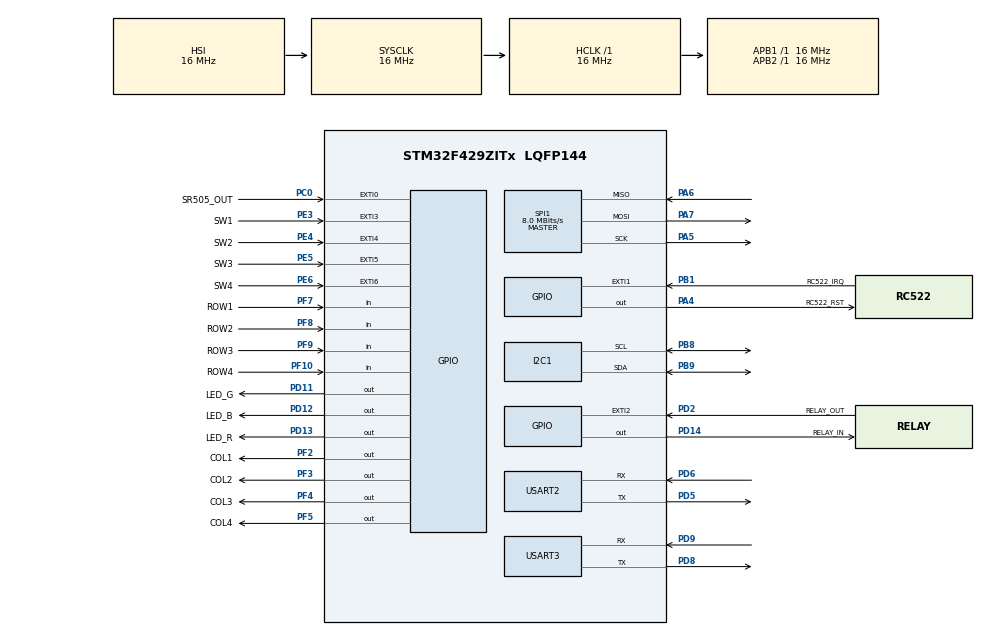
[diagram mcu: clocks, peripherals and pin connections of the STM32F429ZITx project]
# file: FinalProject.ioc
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FREERTOS.Tasks01=defaultTask,24,128,StartDefaultTask,Default,NULL,Dynamic,NULL,NULL
Mcu.Family=STM32F4
Mcu.Name=STM32F429ZITx
Mcu.Package=LQFP144
NVIC.EXTI0_IRQn=true\:5\:0\:false\:false\:true\:true\:true\:true\:true
NVIC.EXTI1_IRQn=true\:5\:0\:false\:false\:true\:true\:true\:true\:true
NVIC.EXTI2_IRQn=true\:5\:0\:false\:false\:true\:true\:true\:true\:true
NVIC.EXTI3_IRQn=true\:5\:0\:false\:false\:true\:true\:true\:true\:true
NVIC.EXTI4_IRQn=true\:5\:0\:false\:false\:true\:true\:true\:true\:true
NVIC.EXTI9_5_IRQn=true\:5\:0\:false\:false\:true\:true\:true\:true\:true
NVIC.PriorityGroup=NVIC_PRIORITYGROUP_4
NVIC.USART2_IRQn=true\:5\:0\:false\:false\:true\:true\:true\:true\:true
PA13.Mode=Serial_Wire
PA13.Signal=SYS_JTMS-SWDIO
PA14.Mode=Serial_Wire
PA14.Signal=SYS_JTCK-SWCLK
PA4.GPIO_Label=RC522_RST
PA4.PinState=GPIO_PIN_SET
PA4.Signal=GPIO_Output
PA5.Mode=Full_Duplex_Master
PA5.Signal=SPI1_SCK
PA6.Mode=Full_Duplex_Master
PA6.Signal=SPI1_MISO
PA7.Mode=Full_Duplex_Master
PA7.Signal=SPI1_MOSI
PB1.GPIO_Label=RC522_IRQ
PB1.GPIO_ModeDefaultEXTI=GPIO_MODE_IT_FALLING
PB1.GPIO_PuPd=GPIO_PULLUP
PB1.Signal=GPXTI1
PB8.Mode=I2C
PB8.Signal=I2C1_SCL
PB9.Mode=I2C
PB9.Signal=I2C1_SDA
PC0.GPIO_Label=SR505_OUT
PC0.GPIO_PuPd=GPIO_PULLDOWN
PC0.Signal=GPXTI0
PD11.GPIO_Label=LED_G
PD11.Signal=GPIO_Output
PD12.GPIO_Label=LED_B
PD12.Signal=GPIO_Output
PD13.GPIO_Label=LED_R
PD13.Signal=GPIO_Output
PD14.GPIO_Label=RELAY_IN
PD14.GPIO_ModeDefaultOutputPP=GPIO_MODE_OUTPUT_OD
PD14.GPIO_PuPd=GPIO_NOPULL
PD14.Signal=GPIO_Output
PD2.GPIO_Label=RELAY_OUT
PD2.GPIO_ModeDefaultEXTI=GPIO_MODE_IT_RISING_FALLING
PD2.GPIO_PuPd=GPIO_PULLUP
PD2.Signal=GPXTI2
PD5.Mode=Asynchronous
PD5.Signal=USART2_TX
PD6.Mode=Asynchronous
PD6.Signal=USART2_RX
PD8.Mode=Asynchronous
PD8.Signal=USART3_TX
PD9.Mode=Asynchronous
PD9.Signal=USART3_RX
PE3.GPIO_Label=SW1
PE3.Signal=GPXTI3
PE4.GPIO_Label=SW2
PE4.Signal=GPXTI4
PE5.GPIO_Label=SW3
PE5.Signal=GPXTI5
PE6.GPIO_Label=SW4
PE6.Signal=GPXTI6
PF10.GPIO_Label=ROW4
PF10.GPIO_PuPd=GPIO_PULLUP
PF10.Signal=GPIO_Input
PF2.GPIO_Label=COL1
PF2.Signal=GPIO_Output
PF3.GPIO_Label=COL2
PF3.Signal=GPIO_Output
PF4.GPIO_Label=COL3
PF4.Signal=GPIO_Output
PF5.GPIO_Label=COL4
PF5.Signal=GPIO_Output
PF7.GPIO_Label=ROW1
PF7.GPIO_PuPd=GPIO_PULLUP
PF7.Signal=GPIO_Input
PF8.GPIO_Label=ROW2
PF8.GPIO_PuPd=GPIO_PULLUP
PF8.Signal=GPIO_Input
PF9.GPIO_Label=ROW3
PF9.GPIO_PuPd=GPIO_PULLUP
PF9.Signal=GPIO_Input
PH0/OSC_IN.Mode=HSE-External-Clock-Source
PH0/OSC_IN.Signal=RCC_OSC_IN
PH1/OSC_OUT.Mode=HSE-External-Clock-Source
PH1/OSC_OUT.Signal=RCC_OSC_OUT
ProjectManager.HeapSize=0x200
ProjectManager.StackSize=0x400
ProjectManager.TargetToolchain=MDK-ARM V5.32
RCC.AHBFreq_Value=16000000
RCC.APB1Freq_Value=16000000
RCC.APB2Freq_Value=16000000
RCC.CortexFreq_Value=16000000
RCC.HSE_VALUE=25000000
RCC.HSI_VALUE=16000000
RCC.LSE_VALUE=32768
RCC.SYSCLKFreq_VALUE=16000000
RCC.VCOOutputFreq_Value=192000000
SPI1.CalculateBaudRate=8.0 MBits/s
SPI1.Direction=SPI_DIRECTION_2LINES
SPI1.Mode=SPI_MODE_MASTER
SPI1.VirtualType=VM_MASTER
USART2.VirtualMode=VM_ASYNC
USART3.VirtualMode=VM_ASYNC
VP_FREERTOS_VS_CMSIS_V2.Mode=CMSIS_V2
board=custom

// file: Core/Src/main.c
/* USER CODE BEGIN Header */
/**
 ******************************************************************************
 * @file           : main.c
 * @brief          : Main program body
 ******************************************************************************
 * @attention
 *
 * Copyright (c) 2026 STMicroelectronics.
 * All rights reserved.
 *
 * This software is licensed under terms that can be found in the LICENSE file
 * in the root directory of this software component.
 * If no LICENSE file comes with this software, it is provided AS-IS.
 *
 ******************************************************************************
 */
/* USER CODE END Header */
#include "main.h"

#include "cmsis_os.h"
#include "gpio.h"
#include "i2c.h"
#include "spi.h"
#include "usart.h"

/* USER CODE BEGIN Includes */
#include "FreeRTOS.h"
#include "RC522.h"
#include "lcd1602_i2c.h"
#include "pb_decode.h"
#include "pb_encode.h"
#include "queue.h"
#include "semphr.h"
#include "serial_comm.h"
#include "stdio.h"
#include "task.h"
/* USER CODE END Includes */

/* USER CODE BEGIN PV */
TaskHandle_t handleKeypad;
TaskHandle_t handleRFID;
TaskHandle_t handleLed;
TaskHandle_t handleLCD;
TaskHandle_t handleTx;
TaskHandle_t handleRx;
TaskHandle_t handleRelayIN;

QueueHandle_t queueKeypad;
QueueHandle_t queueLed;
QueueHandle_t queueLCD;
QueueHandle_t queueRelayIN;
QueueHandle_t queueRelayOUT;
QueueHandle_t queueRFID;
QueueHandle_t queueRFIDRegistration;
QueueHandle_t queueRegistrationControl;

extern I2C_HandleTypeDef hi2c1;
extern UART_HandleTypeDef huart2;
/* USER CODE END PV */

void SystemClock_Config(void);
void MX_FREERTOS_Init(void);

/* USER CODE BEGIN 0 */
void taskKeypad(void* pvParm) {
  static char key_buffer[17] = {0};
  uint16_t COL_PINS[4] = {COL1_Pin, COL2_Pin, COL3_Pin, COL4_Pin};
  uint16_t ROW_PINS[4] = {ROW1_Pin, ROW2_Pin, ROW3_Pin, ROW4_Pin};
  bool isDoorOpen = false;
  bool isRegistration = false;
  bool isUpdation = false;

  char key_matrix_values[4][4] = {{'1', '2', '3', 'A'},
                                  {'4', '5', '6', 'B'},
                                  {'7', '8', '9', 'C'},
                                  {'*', '0', '#', 'D'}};

  HAL_GPIO_WritePin(GPIOF, COL1_Pin | COL2_Pin | COL3_Pin | COL4_Pin,
                    GPIO_PIN_SET);

  while (1) {
    LcdDisplay_t displayText;
    uint8_t isKeyPressed = 0;
    char key = '0';

    for (int c = 0; c < 4; c++) {
      HAL_GPIO_WritePin(GPIOF, COL1_Pin | COL2_Pin | COL3_Pin | COL4_Pin,
                        GPIO_PIN_SET);
      HAL_GPIO_WritePin(GPIOF, COL_PINS[c], GPIO_PIN_RESET);
      vTaskDelay(pdMS_TO_TICKS(1));

      for (int r = 0; r < 4; r++) {
        if (HAL_GPIO_ReadPin(GPIOF, ROW_PINS[r]) == GPIO_PIN_RESET) {
          vTaskDelay(pdMS_TO_TICKS(5));
          if (HAL_GPIO_ReadPin(GPIOF, ROW_PINS[r]) == GPIO_PIN_RESET) {
            key = key_matrix_values[r][c];
            isKeyPressed = 1;
            while (HAL_GPIO_ReadPin(GPIOF, ROW_PINS[r]) == GPIO_PIN_RESET) {
              vTaskDelay(pdMS_TO_TICKS(10));
            }
            break;
          }
        }
      }
      if (isKeyPressed) break;
    }

    HAL_GPIO_WritePin(GPIOF, COL1_Pin | COL2_Pin | COL3_Pin | COL4_Pin,
                      GPIO_PIN_RESET);

    if (isKeyPressed == 1) {
      int len = strlen(key_buffer);

      xQueuePeek(queueRelayOUT, &isDoorOpen, 0);
      xQueuePeek(queueRegistrationControl, &isRegistration, 0);

      if (isRegistration == true) {
        if (key == '*') {
          isRegistration = false;
        }
        continue;
      }

      switch (key) {
        case '*':  // 清除輸入
          key_buffer[0] = '\0';
          break;
        case '#':  // 確認輸入
          printf("\r\n[Keypad] PIN Entered: %s\r\n", key_buffer);
          if (isUpdation == true) {
            SendPINUpdatedEvent(key_buffer);
            isUpdation = false;
          } else {
            SendPINEvent(key_buffer);
          }
          key_buffer[0] = '\0';
          break;
        case 'A':  // 更新密碼
          if (isDoorOpen == true) {
            snprintf(displayText.line1, sizeof(displayText.line1), "%s",
                     "PIN Update");
            isUpdation = true;
            key_buffer[0] = '\0';
          }
          break;
        case 'B':  // 註冊人臉
          if (isDoorOpen == true) {
            SendFaceRegistrationEvent();
            snprintf(displayText.line1, sizeof(displayText.line1), "%s",
                     "Face Registration");
            isRegistration = true;
            key_buffer[0] = '\0';
          }
          break;
        case 'C':  // 註冊卡片
          if (isDoorOpen == true) {
            xQueueOverwrite(queueRFIDRegistration, &(bool){true});
            snprintf(displayText.line1, sizeof(displayText.line1), "%s",
                     "RFID Registration");
            isRegistration = true;
            key_buffer[0] = '\0';
          }
          break;
        case 'D':  // 回退輸入
          if (len > 0) {
            key_buffer[len - 1] = '\0';
          }
          break;
        default:  // 一般輸入
          if (len < 16) {
            key_buffer[len] = key;
            key_buffer[len + 1] = '\0';
          }
          break;
      }

      if (!isRegistration && !isUpdation) {
        snprintf(displayText.line1, sizeof(displayText.line1), "%s",
                 "Keypad Input");
      }
      snprintf(displayText.line2, sizeof(displayText.line2), "%s", key_buffer);
      xQueueSend(queueLCD, &displayText, portMAX_DELAY);
    }
    vTaskDelay(pdMS_TO_TICKS(50));
  }
}

void taskRFID(void* pvParm) {
  LcdDisplay_t displayText;
  MFRC522_Init();
  uchar status;
  uchar uidBytes[MAX_LEN];
  char rfid[9] = {0};
  bool isRegistration = false;

  while (1) {
    xQueuePeek(queueRFIDRegistration, &isRegistration, 0);
    status = MFRC522_Request(PICC_REQIDL, uidBytes);
    if (status == MI_OK) {
      status = MFRC522_Anticoll(uidBytes);
      if (status == MI_OK) {
        if (isRegistration) {
          SendRFIDRegistrationEvent(uidBytes, 4);
          isRegistration = false;
        } else {
          SendRfidEvent(uidBytes, 4);
        }
        snprintf(rfid, sizeof(rfid), "%02x%02x%02x%02x", uidBytes[0],
                 uidBytes[1], uidBytes[2], uidBytes[3]);
        snprintf(displayText.line1, sizeof(displayText.line1), "%s",
                 "RFID Card Scanned");
        snprintf(displayText.line2, sizeof(displayText.line2), "%s", rfid);
        xQueueSend(queueLCD, &displayText, portMAX_DELAY);
        printf("\r\n[RFID] Card Scanned UID: %s\r\n", rfid);
      }
      MFRC522_Halt();
      vTaskDelay(pdMS_TO_TICKS(1000));
    } else {
      vTaskDelay(pdMS_TO_TICKS(200));
    }
  }
}

void taskRelayIN(void* pvParm) {
  bool open = false;
  while (1) {
    if (xQueueReceive(queueRelayIN, &open, portMAX_DELAY) == pdTRUE) {
      if (open) {
        HAL_GPIO_WritePin(GPIOD, RELAY_IN_Pin, GPIO_PIN_SET);
      } else {
        HAL_GPIO_WritePin(GPIOD, RELAY_IN_Pin, GPIO_PIN_RESET);
      }
    }
  }
}

void taskLed(void* pvParm) {
  TickType_t xTicksToWait = pdMS_TO_TICKS(1000);
  bool blinkState = false;
  char ledCommand;

  HAL_GPIO_WritePin(GPIOD, LED_B_Pin | LED_G_Pin | LED_R_Pin, GPIO_PIN_SET);

  while (1) {
    if (xQueueReceive(queueLed, &ledCommand, xTicksToWait) == pdTRUE) {
      HAL_GPIO_WritePin(GPIOD, LED_B_Pin | LED_G_Pin | LED_R_Pin, GPIO_PIN_SET);
      switch (ledCommand) {
        case 'R':
          HAL_GPIO_WritePin(GPIOD, LED_R_Pin, GPIO_PIN_RESET);
          break;
        case 'G':
          HAL_GPIO_WritePin(GPIOD, LED_G_Pin, GPIO_PIN_RESET);
          break;
        case 'B':
          HAL_GPIO_WritePin(GPIOD, LED_B_Pin, GPIO_PIN_RESET);
          break;
        case 'Y':
          HAL_GPIO_WritePin(GPIOD, LED_R_Pin, GPIO_PIN_RESET);
          HAL_GPIO_WritePin(GPIOD, LED_G_Pin, GPIO_PIN_RESET);
          break;
        default:
          break;
      }

      xTicksToWait = pdMS_TO_TICKS(5000);
    } else {
      if (blinkState) {
        HAL_GPIO_WritePin(GPIOD, LED_B_Pin | LED_G_Pin | LED_R_Pin,
                          GPIO_PIN_SET);
      } else {
        HAL_GPIO_WritePin(GPIOD, LED_B_Pin | LED_G_Pin | LED_R_Pin,
                          GPIO_PIN_RESET);
      }
      blinkState = !blinkState;

      xTicksToWait = pdMS_TO_TICKS(1000);
    }
  }
}

void taskLCD(void* pvParm) {
  const uint8_t lcd_addr = (0x27 << 1);
  LcdDisplay_t displayText;
  char cleanLine1[17];
  char cleanLine2[17];

  I2C_Scan();
  LCD_Init(lcd_addr);

  while (1) {
    if (xQueueReceive(queueLCD, &displayText, portMAX_DELAY) == pdTRUE) {
      snprintf(cleanLine1, sizeof(cleanLine1), "%-16.16s", displayText.line1);
      snprintf(cleanLine2, sizeof(cleanLine2), "%-16.16s", displayText.line2);

      LCD_SendCommand(lcd_addr, 0b10000000);
      LCD_SendString(lcd_addr, cleanLine1);
      LCD_SendCommand(lcd_addr, 0b11000000);
      LCD_SendString(lcd_addr, cleanLine2);
    }
  }
}

void HAL_GPIO_EXTI_Callback(uint16_t GPIO_Pin) {
  BaseType_t xHigherPriorityTaskWoken = pdFALSE;

  switch (GPIO_Pin) {
    case SW1_Pin:  // 模擬關門
      if (HAL_GPIO_ReadPin(SW1_GPIO_Port, SW1_Pin) == GPIO_PIN_SET) {
        xQueueSendFromISR(queueRelayIN, &(bool){false},
                          &xHigherPriorityTaskWoken);
      }
      break;
    case SW2_Pin:  // 系統重設
      if (HAL_GPIO_ReadPin(SW2_GPIO_Port, SW2_Pin) == GPIO_PIN_SET) {
        SendSmartLockSignalFromISR(SIGNAL_SYSTEM_RESET,
                                   &xHigherPriorityTaskWoken);
      }
      break;
    case SW3_Pin:  // 手動觸發紅外線(測試)
      if (HAL_GPIO_ReadPin(SW3_GPIO_Port, SW3_Pin) == GPIO_PIN_RESET) {
        SendSmartLockSignalFromISR(SIGNAL_IR_TRIGGERED,
                                   &xHigherPriorityTaskWoken);
      }
      break;
    case RELAY_OUT_Pin:  // 門狀態
      if (HAL_GPIO_ReadPin(RELAY_OUT_GPIO_Port, RELAY_OUT_Pin) ==
          GPIO_PIN_SET) {
        xQueueOverwriteFromISR(queueRelayOUT, &(bool){false},
                               &xHigherPriorityTaskWoken);
      } else {
        xQueueOverwriteFromISR(queueRelayOUT, &(bool){true},
                               &xHigherPriorityTaskWoken);
      }
      break;
    case SR505_OUT_Pin:  // 紅外線
      SendSmartLockSignalFromISR(SIGNAL_IR_TRIGGERED,
                                 &xHigherPriorityTaskWoken);
      break;
    default:
      break;
  }

  portYIELD_FROM_ISR(xHigherPriorityTaskWoken);
}
/* USER CODE END 0 */

int main(void) {

  /* MCU Configuration--------------------------------------------------------*/

  /* Reset of all peripherals, Initializes the Flash interface and the Systick.
   */
  HAL_Init();

  /* Configure the system clock */
  SystemClock_Config();

  /* Initialize all configured peripherals */
  MX_GPIO_Init();
  MX_USART3_UART_Init();
  MX_SPI1_Init();
  MX_I2C1_Init();
  MX_USART2_UART_Init();
  /* USER CODE BEGIN 2 */
  queueKeypad = xQueueCreate(3, sizeof(char[17]));
  queueLed = xQueueCreate(3, sizeof(char));
  queueLCD = xQueueCreate(5, sizeof(LcdDisplay_t));
  queueRelayOUT = xQueueCreate(1, sizeof(bool));
  queueRelayIN = xQueueCreate(3, sizeof(bool));
  queueRFID = xQueueCreate(3, sizeof(char));
  queueRFIDRegistration = xQueueCreate(1, sizeof(bool));
  queueRegistrationControl = xQueueCreate(1, sizeof(bool));

  xTaskCreate(taskKeypad, "Keypad", 256, NULL, 3, &handleKeypad);
  xTaskCreate(taskRFID, "RFID", 256, NULL, 3, &handleRFID);
  xTaskCreate(taskLed, "LED", 128, NULL, 1, &handleLed);
  xTaskCreate(taskLCD, "LCD", 256, NULL, 1, &handleLCD);
  xTaskCreate(taskRelayIN, "RelayIN", 256, NULL, 2, &handleRelayIN);

  xTaskCreate((TaskFunction_t)StartTask_Tx, "TxTask", 512, NULL, 3, &handleTx);
  xTaskCreate((TaskFunction_t)StartTask_Rx, "RxTask", 512, NULL, 3, &handleRx);

  InitSmartLockComms();
  vTaskStartScheduler();
  /* USER CODE END 2 */

  /* Init scheduler */
  osKernelInitialize(); /* Call init function for freertos objects (in
                           cmsis_os2.c) */
  MX_FREERTOS_Init();

  /* Start scheduler */
  osKernelStart();

  /* We should never get here as control is now taken by the scheduler */

  /* Infinite loop */
  while (1) {

  }
}

void SystemClock_Config(void) {
  RCC_OscInitTypeDef RCC_OscInitStruct = {0};
  RCC_ClkInitTypeDef RCC_ClkInitStruct = {0};

  /** Configure the main internal regulator output voltage
   */
  __HAL_RCC_PWR_CLK_ENABLE();
  __HAL_PWR_VOLTAGESCALING_CONFIG(PWR_REGULATOR_VOLTAGE_SCALE3);

  /** Initializes the RCC Oscillators according to the specified parameters
   * in the RCC_OscInitTypeDef structure.
   */
  RCC_OscInitStruct.OscillatorType = RCC_OSCILLATORTYPE_HSI;
  RCC_OscInitStruct.HSIState = RCC_HSI_ON;
  RCC_OscInitStruct.HSICalibrationValue = RCC_HSICALIBRATION_DEFAULT;
  RCC_OscInitStruct.PLL.PLLState = RCC_PLL_NONE;
  if (HAL_RCC_OscConfig(&RCC_OscInitStruct) != HAL_OK) {
    Error_Handler();
  }

  /** Initializes the CPU, AHB and APB buses clocks
   */
  RCC_ClkInitStruct.ClockType = RCC_CLOCKTYPE_HCLK | RCC_CLOCKTYPE_SYSCLK |
                                RCC_CLOCKTYPE_PCLK1 | RCC_CLOCKTYPE_PCLK2;
  RCC_ClkInitStruct.SYSCLKSource = RCC_SYSCLKSOURCE_HSI;
  RCC_ClkInitStruct.AHBCLKDivider = RCC_SYSCLK_DIV1;
  RCC_ClkInitStruct.APB1CLKDivider = RCC_HCLK_DIV1;
  RCC_ClkInitStruct.APB2CLKDivider = RCC_HCLK_DIV1;

  if (HAL_RCC_ClockConfig(&RCC_ClkInitStruct, FLASH_LATENCY_0) != HAL_OK) {
    Error_Handler();
  }
}

void Error_Handler(void) {
  /* USER CODE BEGIN Error_Handler_Debug */
  /* User can add his own implementation to report the HAL error return state
   */
  __disable_irq();
  while (1) {
  }
  /* USER CODE END Error_Handler_Debug */
}
#ifdef USE_FULL_ASSERT
/**
 * @brief  Reports the name of the source file and the source line number
 *         where the assert_param error has occurred.
 * @param  file: pointer to the source file name
 * @param  line: assert_param error line source number
 * @retval None
 */
void assert_failed(uint8_t* file, uint32_t line) {
  /* USER CODE BEGIN 6 */
  /* User can add his own implementation to report the file name and line
     number, ex: printf("Wrong parameters value: file %s on line %d\r\n",
     file, line) */
  /* USER CODE END 6 */
}
#endif /* USE_FULL_ASSERT */
